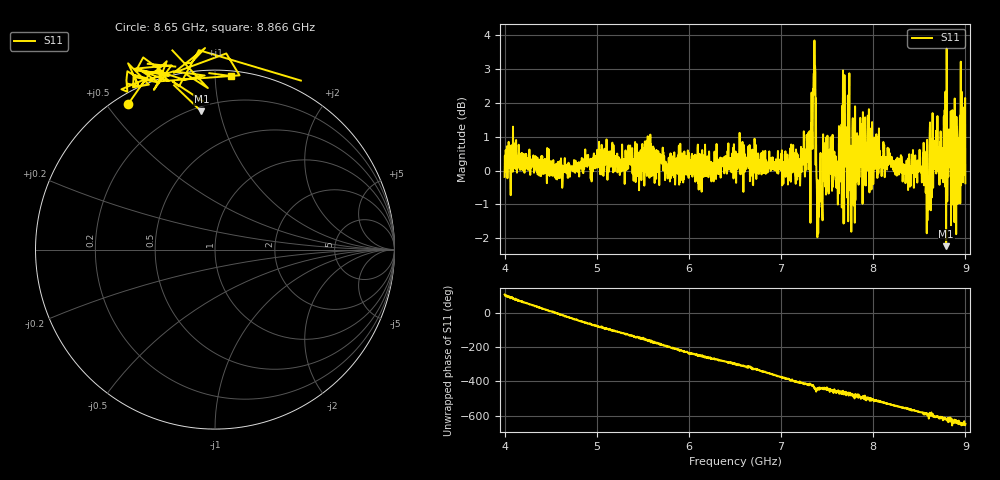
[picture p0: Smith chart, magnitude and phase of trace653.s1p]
! Created with skrf 1.8.0 (http://scikit-rf.org).
# Hz S RI R 50.0
!freq ReS11 ImS11
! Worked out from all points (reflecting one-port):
!   1601 points, 4 GHz to 9 GHz, reference 50 ohm
!   lowest |S11| = -2.2 dB at 8.791 GHz (marker M1), VSWR 7.83, Z = 11.5 + j44 ohm
!   phase of S11 starts at 107 deg and turns -755 deg over the sweep
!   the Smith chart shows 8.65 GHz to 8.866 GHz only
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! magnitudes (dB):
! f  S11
! 4 GHz  -0.2
! 4.1 GHz  0.5
! 4.625 GHz  -0.5
! 5.25 GHz  -0.1
! 5.875 GHz  -0.1
! 6.5 GHz  0.5
! 7.125 GHz  -0.1
! 7.294 GHz  0.3
! 7.319 GHz  -1.5
! 7.353 GHz  2.8
! 7.372 GHz  2.9
! 7.4 GHz  -0.5
! 7.412 GHz  -1.0
! 7.478 GHz  0.8
! 7.622 GHz  0.3
! 7.65 GHz  1.2
! 7.688 GHz  2.8
! 7.75 GHz  0.2
! 7.775 GHz  1.2
! 7.891 GHz  0.1
! 8.375 GHz  0.2
! 8.522 GHz  -0.1
! 8.581 GHz  -1.9
! 8.662 GHz  0.6
! 8.791 GHz  -2.2
! 8.869 GHz  -1.0
! 8.972 GHz  0.6
! 9 GHz  -0.4
